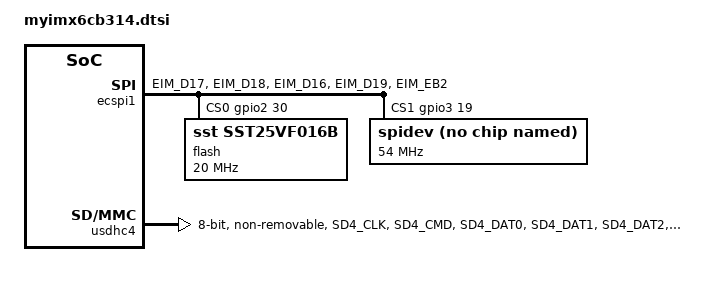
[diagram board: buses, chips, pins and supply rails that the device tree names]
/*
 * MYZR Technology Co.,Ltd
 * http://www.myzr.com.cn
 * Tang Bin <tangb@myzr.com.cn>
 */

&ecspi1 {
	pinctrl-names = "default";
	pinctrl-0 = <&pinctrl_eim_spi1>, <&pinctrl_eim_spi1_io>;
	fsl,spi-num-chipselects = <2>;
	cs-gpios = <&gpio2 30 0>, <&gpio3 19 0>;
	status = "okay";

	flash: m25p80@0 {
		#address-cells = <1>;
		#size-cells = <1>;
		compatible = "sst,sst25vf016b";
		reg = <0>;
		spi-max-frequency = <20000000>;
	};
	
	spidev: spi@1 {
		compatible = "spidev";
		reg = <1>;
		spi-max-frequency = <54000000>;
	};
};

&usdhc4 {
	pinctrl-names = "default";
	pinctrl-0 = <&pinctrl_sd4_sd4>;
	bus-width = <8>;
	non-removable;
	no-1-8-v;
	keep-power-in-suspend;
	status = "okay";
};

&iomuxc {
	myimx6cb314 {
		pinctrl_eim_spi1: eim_spi1grp {
			fsl,pins = <
				MX6QDL_PAD_EIM_D17__ECSPI1_MISO		0x100b1
				MX6QDL_PAD_EIM_D18__ECSPI1_MOSI		0x100b1
				MX6QDL_PAD_EIM_D16__ECSPI1_SCLK		0x100b1
			>;
		};
		pinctrl_eim_spi1_io: eim_spi1_iogrp {
			fsl,pins = <
				/* SPI1_CS1 */
				MX6QDL_PAD_EIM_D19__GPIO3_IO19		0x80000000
				/* SPI1_CS0 */
				MX6QDL_PAD_EIM_EB2__GPIO2_IO30		0x80000000
			>;
		};
		
		pinctrl_sd4_sd4: sd4_sd4grp {
			fsl,pins = <
				MX6QDL_PAD_SD4_CLK__SD4_CLK			0x10059
				MX6QDL_PAD_SD4_CMD__SD4_CMD			0x17059
				MX6QDL_PAD_SD4_DAT0__SD4_DATA0		0x17059
				MX6QDL_PAD_SD4_DAT1__SD4_DATA1		0x17059
				MX6QDL_PAD_SD4_DAT2__SD4_DATA2		0x17059
				MX6QDL_PAD_SD4_DAT3__SD4_DATA3		0x17059
				MX6QDL_PAD_SD4_DAT4__SD4_DATA4		0x17059
				MX6QDL_PAD_SD4_DAT5__SD4_DATA5		0x17059
				MX6QDL_PAD_SD4_DAT6__SD4_DATA6		0x17059
				MX6QDL_PAD_SD4_DAT7__SD4_DATA7		0x17059
			>;
		};
	};
};
